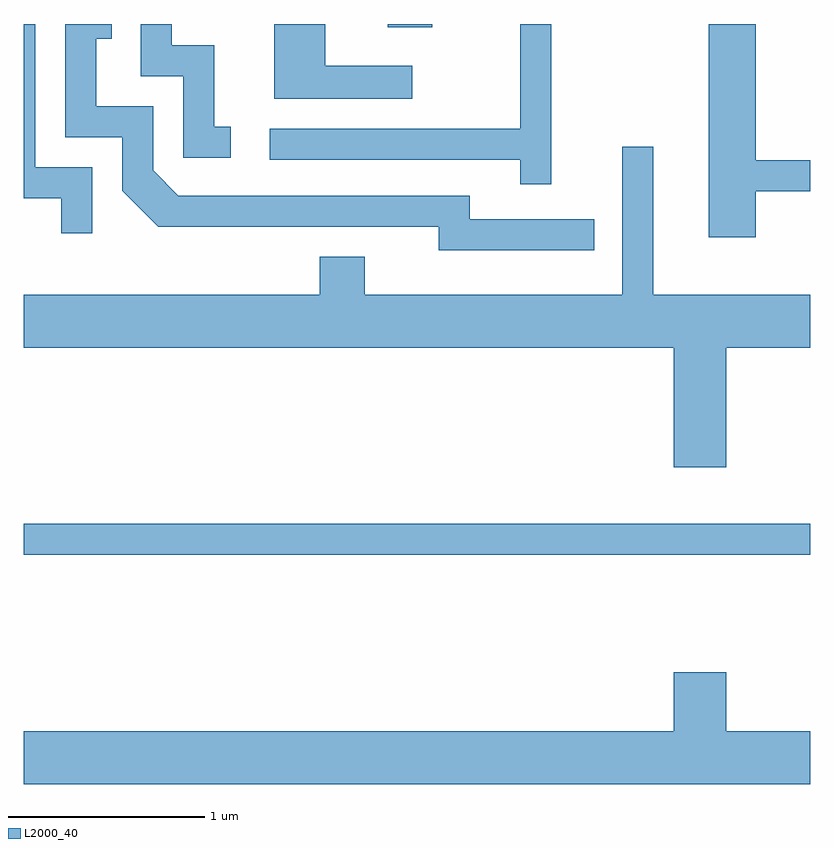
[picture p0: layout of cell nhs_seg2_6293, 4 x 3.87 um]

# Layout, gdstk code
import gdstk
lib = gdstk.Library(unit=1e-6, precision=1e-09)
def R(c, l, rs):  # rectangles x0, y0, x1, y1
    for r in rs: c.add(gdstk.rectangle(r[:2], r[2:], *l))
def P(c, l, *ps):  # polygons
    for p in ps: c.add(gdstk.Polygon(p, *l))
L2000_40 = (2000, 40)

nhs_seg2_6293 = lib.new_cell('nhs_seg2_6293')
R(nhs_seg2_6293, L2000_40, [(371.611,985.101,375.611,985.259), (373.461,987.786,373.689,987.802)])
P(nhs_seg2_6293, L2000_40, [(375.334,986.951),(375.611,986.951),(375.611,987.109),(375.334,987.109),(375.334,987.802),(375.096,987.802),(375.096,986.716),(375.334,986.716)],
  [(374.513,986.809),(373.879,986.809),(373.879,986.929),(372.397,986.929),(372.269,987.057),(372.269,987.384),(371.979,987.384),(371.979,987.726),(372.058,987.726),(372.058,987.802),(371.821,987.802),(371.821,987.226),(372.111,987.226),(372.111,986.954),(372.294,986.771),(373.721,986.771),(373.721,986.651),(374.513,986.651)],
  [(372.663,987.279),(372.579,987.279),(372.579,987.694),(372.364,987.694),(372.364,987.802),(372.206,987.802),(372.206,987.536),(372.421,987.536),(372.421,987.121),(372.663,987.121)],
  [(374.294,987.802),(374.136,987.802),(374.136,987.269),(372.863,987.269),(372.863,987.111),(374.136,987.111),(374.136,986.988),(374.294,986.988)],
  [(371.959,987.074),(371.669,987.074),(371.669,987.802),(371.611,987.802),(371.611,986.916),(371.801,986.916),(371.801,986.738),(371.959,986.738)],
  [(373.588,987.589),(373.144,987.589),(373.144,987.802),(372.886,987.802),(372.886,987.421),(373.588,987.421)],
  [(375.184,986.156),(375.611,986.156),(375.611,986.424),(374.814,986.424),(374.814,987.178),(374.656,987.178),(374.656,986.424),(373.344,986.424),(373.344,986.619),(373.116,986.619),(373.116,986.424),(371.611,986.424),(371.611,986.156),(374.916,986.156),(374.916,985.546),(375.184,985.546)],
  [(375.611,984.204),(375.184,984.204),(375.184,984.504),(374.916,984.504),(374.916,984.204),(371.611,984.204),(371.611,983.936),(375.611,983.936)])

lib.write_gds('nhs_seg2_6293.gds')
